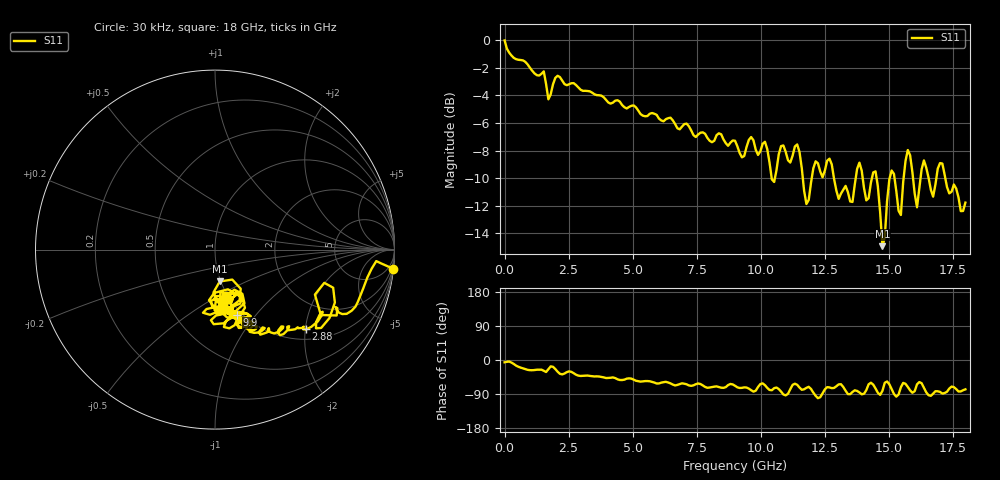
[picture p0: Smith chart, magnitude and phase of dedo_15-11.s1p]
!Keysight Technologies N9917A: A.12.46
!Date: Thursday, 16 November 2023 19:12:12
!TimeZone: (UTC-03:00) Buenos Aires!Model: N9917A
!Serial: MY56072049
!GPS Latitude:
!GPS Longitude:
!GPS TimeStamp: 0001-01-01 00:00:00Z
!GPS Seconds Since Last Read: 0
!CHECKSUM:2084901735
!Correction: S11(Rdy)
!S1P File: Measurement: S11:
# Hz S RI R 50
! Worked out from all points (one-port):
!   201 points, 30 kHz to 18 GHz, reference 50 ohm
!   lowest |S11| = -14.9 dB at 14.76 GHz (marker M1), VSWR 1.44, Z = 49.4 - j18.1 ohm
!   |S11| at or under -10 dB: 12.87 GHz to 13.72 GHz (849.8 MHz wide, 6.39 % of centre); 14.53 GHz to 15.04 GHz (508.5 MHz wide, 3.44 % of centre); 17.22 GHz to end of sweep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
!   S11 on the Smith chart (normalised r, x): 30 kHz: 0, -19; 2.88 GHz: 1.24, -2.02; 9.9 GHz: 0.95, -0.81; 18 GHz: 0.98, -0.53
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30000  0.9919 -0.1061
9.000285e8  0.7339 -0.3579
1.620027e9  0.5898 -0.3645
1.800027e9  0.609 -0.1852
2.250026e9  0.5628 -0.4386
2.880025e9  0.5071 -0.4444
4.500022e9  0.3626 -0.4769
6.750019e9  0.1977 -0.4371
9.000015e9  0.1622 -0.4008
9.900014e9  0.1242 -0.3634
1.053001e10  0.0829 -0.2952
1.098001e10  -0.0228 -0.3934
1.125001e10  0.1571 -0.3478
1.179001e10  0.0727 -0.2445
1.224001e10  -0.0668 -0.3519
1.260001e10  0.1153 -0.3474
1.350001e10  -0.00133 -0.2606
1.449001e10  0.0854 -0.3238
1.476001e10  0.0266 -0.1775
1.503e10  0.1368 -0.2822
1.53e10  -0.0335 -0.2825
1.548e10  0.0721 -0.2213
1.575e10  0.1302 -0.3784
1.611e10  0.1085 -0.2233
1.638e10  0.1064 -0.3512
1.665e10  -0.0228 -0.2866
1.71e10  0.00918 -0.3573
1.8e10  0.0562 -0.2519
